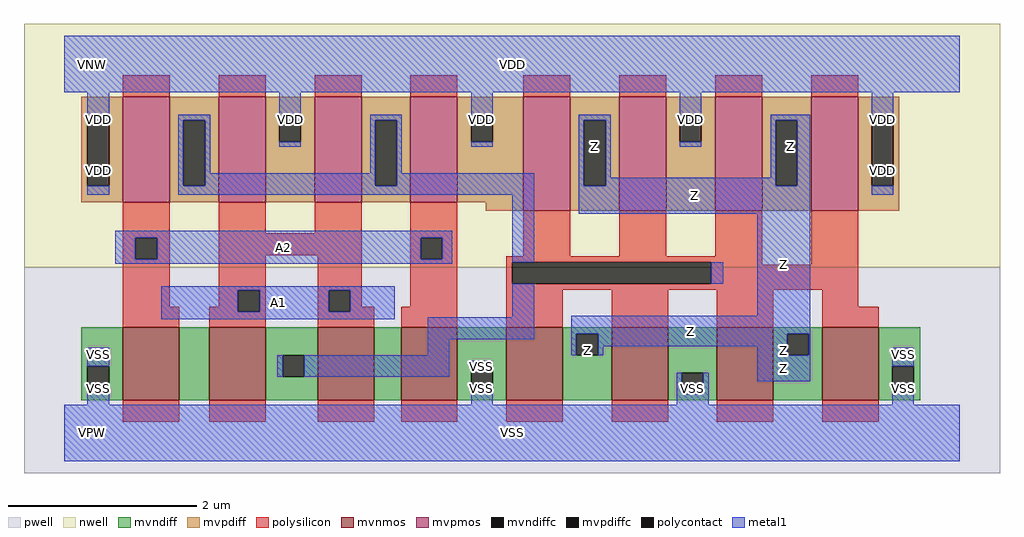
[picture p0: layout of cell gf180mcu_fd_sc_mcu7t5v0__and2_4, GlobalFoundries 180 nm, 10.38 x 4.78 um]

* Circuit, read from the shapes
.subckt gf180mcu_fd_sc_mcu7t5v0__and2_4 A1 A2 Z VDD VNW VPW VSS
XM1 n1 A2 VSS VPW nfet_06v0 w=0.775u l=0.6u
XM2 n2 A1 n1 VPW nfet_06v0 w=0.775u l=0.6u
XM3 n3 A1 n2 VPW nfet_06v0 w=0.775u l=0.6u
XM4 VSS A2 n3 VPW nfet_06v0 w=0.775u l=0.6u
XM5 Z n2 VSS VPW nfet_06v0 w=0.775u l=0.6u m=4
XM6 n2 A2 VDD VNW pfet_06v0 w=1.125u l=0.5u m=2
XM7 VDD A1 n2 VNW pfet_06v0 w=1.125u l=0.5u m=2
XM8 Z n2 VDD VNW pfet_06v0 w=1.215u l=0.5u m=4
.ends

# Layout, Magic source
magic
tech gf180mcuD
magscale 1 10
<< nwell >>
rect -86 352 1990 870
<< pwell >>
rect -86 -86 1990 352
<< mvnmos >>
rect 124 69 244 224
rect 308 69 428 224
rect 539 69 659 224
rect 716 69 836 224
rect 940 69 1060 224
rect 1164 69 1284 224
rect 1388 69 1508 224
rect 1612 69 1732 224
<< mvpmos >>
rect 124 490 224 715
rect 328 490 428 715
rect 532 490 632 715
rect 736 490 836 715
rect 976 472 1076 715
rect 1180 472 1280 715
rect 1384 472 1484 715
rect 1588 472 1688 715
<< mvndiff >>
rect 36 142 124 224
rect 36 96 49 142
rect 95 96 124 142
rect 36 69 124 96
rect 244 69 308 224
rect 428 165 539 224
rect 428 119 464 165
rect 510 119 539 165
rect 428 69 539 119
rect 659 69 716 224
rect 836 142 940 224
rect 836 96 865 142
rect 911 96 940 142
rect 836 69 940 96
rect 1060 211 1164 224
rect 1060 165 1089 211
rect 1135 165 1164 211
rect 1060 69 1164 165
rect 1284 128 1388 224
rect 1284 82 1313 128
rect 1359 82 1388 128
rect 1284 69 1388 82
rect 1508 211 1612 224
rect 1508 165 1537 211
rect 1583 165 1612 211
rect 1508 69 1612 165
rect 1732 142 1820 224
rect 1732 96 1761 142
rect 1807 96 1820 142
rect 1732 69 1820 96
<< mvpdiff >>
rect 36 665 124 715
rect 36 525 49 665
rect 95 525 124 665
rect 36 490 124 525
rect 224 665 328 715
rect 224 525 253 665
rect 299 525 328 665
rect 224 490 328 525
rect 428 665 532 715
rect 428 619 457 665
rect 503 619 532 665
rect 428 490 532 619
rect 632 665 736 715
rect 632 525 661 665
rect 707 525 736 665
rect 632 490 736 525
rect 836 665 976 715
rect 836 619 865 665
rect 911 619 976 665
rect 836 490 976 619
rect 896 472 976 490
rect 1076 665 1180 715
rect 1076 525 1105 665
rect 1151 525 1180 665
rect 1076 472 1180 525
rect 1280 665 1384 715
rect 1280 619 1309 665
rect 1355 619 1384 665
rect 1280 472 1384 619
rect 1484 665 1588 715
rect 1484 525 1513 665
rect 1559 525 1588 665
rect 1484 472 1588 525
rect 1688 665 1776 715
rect 1688 525 1717 665
rect 1763 525 1776 665
rect 1688 472 1776 525
<< mvndiffc >>
rect 49 96 95 142
rect 464 119 510 165
rect 865 96 911 142
rect 1089 165 1135 211
rect 1313 82 1359 128
rect 1537 165 1583 211
rect 1761 96 1807 142
<< mvpdiffc >>
rect 49 525 95 665
rect 253 525 299 665
rect 457 619 503 665
rect 661 525 707 665
rect 865 619 911 665
rect 1105 525 1151 665
rect 1309 619 1355 665
rect 1513 525 1559 665
rect 1717 525 1763 665
<< polysilicon >>
rect 124 715 224 760
rect 328 715 428 760
rect 532 715 632 760
rect 736 715 836 760
rect 976 715 1076 760
rect 1180 715 1280 760
rect 1384 715 1484 760
rect 1588 715 1688 760
rect 124 415 224 490
rect 124 369 151 415
rect 197 369 224 415
rect 124 268 224 369
rect 328 424 428 490
rect 532 424 632 490
rect 328 378 632 424
rect 328 303 428 378
rect 328 268 369 303
rect 124 224 244 268
rect 308 257 369 268
rect 415 257 428 303
rect 308 224 428 257
rect 539 303 632 378
rect 539 257 562 303
rect 608 268 632 303
rect 736 415 836 490
rect 736 369 758 415
rect 804 369 836 415
rect 976 376 1076 472
rect 1180 376 1280 472
rect 1384 376 1484 472
rect 736 268 836 369
rect 608 257 659 268
rect 539 224 659 257
rect 716 224 836 268
rect 940 363 1484 376
rect 940 317 953 363
rect 1376 357 1484 363
rect 1588 357 1688 472
rect 1376 317 1688 357
rect 940 304 1688 317
rect 940 224 1060 304
rect 1164 224 1284 304
rect 1388 224 1508 304
rect 1612 268 1688 304
rect 1612 224 1732 268
rect 124 24 244 69
rect 308 24 428 69
rect 539 24 659 69
rect 716 24 836 69
rect 940 24 1060 69
rect 1164 24 1284 69
rect 1388 24 1508 69
rect 1612 24 1732 69
<< polycontact >>
rect 151 369 197 415
rect 369 257 415 303
rect 562 257 608 303
rect 758 369 804 415
rect 953 317 1376 363
<< metal1 >>
rect 0 724 1904 844
rect 49 665 95 724
rect 49 506 95 525
rect 242 665 310 676
rect 242 525 253 665
rect 299 552 310 665
rect 457 665 503 724
rect 457 608 503 619
rect 650 665 718 676
rect 650 552 661 665
rect 299 525 661 552
rect 707 552 718 665
rect 865 665 911 724
rect 865 608 911 619
rect 1094 665 1162 676
rect 707 525 999 552
rect 242 506 999 525
rect 108 415 825 430
rect 108 369 151 415
rect 197 369 758 415
rect 804 369 825 415
rect 108 360 825 369
rect 953 363 999 506
rect 1094 525 1105 665
rect 1151 542 1162 665
rect 1309 665 1355 724
rect 1309 608 1355 619
rect 1502 665 1586 676
rect 1502 542 1513 665
rect 1151 525 1513 542
rect 1559 525 1586 665
rect 1094 466 1586 525
rect 1717 665 1763 724
rect 1717 506 1763 525
rect 1376 317 1401 363
rect 206 303 703 312
rect 206 257 369 303
rect 415 257 562 303
rect 608 257 703 303
rect 206 242 703 257
rect 953 246 999 317
rect 1474 249 1586 466
rect 773 199 999 246
rect 1078 211 1586 249
rect 49 142 95 181
rect 773 165 819 199
rect 1078 165 1089 211
rect 1135 184 1537 211
rect 1135 165 1146 184
rect 1474 165 1537 184
rect 1583 165 1586 211
rect 453 119 464 165
rect 510 119 819 165
rect 865 142 911 153
rect 49 60 95 96
rect 865 60 911 96
rect 1302 82 1313 128
rect 1359 82 1370 128
rect 1474 110 1586 165
rect 1761 142 1807 181
rect 1302 60 1370 82
rect 1761 60 1807 96
rect 0 -60 1904 60
<< labels >>
flabel metal1 s 108 360 825 430 0 FreeSans 600 0 0 0 A2
port 2 nsew default input
flabel metal1 s 0 724 1904 844 0 FreeSans 600 0 0 0 VDD
port 4 nsew power bidirectional abutment
flabel metal1 s 1761 153 1807 181 0 FreeSans 600 0 0 0 VSS
port 7 nsew ground bidirectional abutment
flabel metal1 s 1502 542 1586 676 0 FreeSans 600 0 0 0 Z
port 3 nsew default output
flabel metal1 s 206 242 703 312 0 FreeSans 600 0 0 0 A1
port 1 nsew default input
flabel nwell s 10 734 110 834 0 FreeSans 400 0 0 0 VNW
port 5 nsew power bidirectional
flabel pwell s 10 -50 110 50 0 FreeSans 400 0 0 0 VPW
port 6 nsew ground bidirectional
rlabel metal1 s 1094 542 1162 676 1 Z
port 3 nsew default output
rlabel metal1 s 1094 466 1586 542 1 Z
port 3 nsew default output
rlabel metal1 s 1474 249 1586 466 1 Z
port 3 nsew default output
rlabel metal1 s 1078 184 1586 249 1 Z
port 3 nsew default output
rlabel metal1 s 1474 165 1586 184 1 Z
port 3 nsew default output
rlabel metal1 s 1078 165 1146 184 1 Z
port 3 nsew default output
rlabel metal1 s 1474 110 1586 165 1 Z
port 3 nsew default output
rlabel metal1 s 1717 608 1763 724 1 VDD
port 4 nsew power bidirectional abutment
rlabel metal1 s 1309 608 1355 724 1 VDD
port 4 nsew power bidirectional abutment
rlabel metal1 s 865 608 911 724 1 VDD
port 4 nsew power bidirectional abutment
rlabel metal1 s 457 608 503 724 1 VDD
port 4 nsew power bidirectional abutment
rlabel metal1 s 49 608 95 724 1 VDD
port 4 nsew power bidirectional abutment
rlabel metal1 s 1717 506 1763 608 1 VDD
port 4 nsew power bidirectional abutment
rlabel metal1 s 49 506 95 608 1 VDD
port 4 nsew power bidirectional abutment
rlabel metal1 s 49 153 95 181 1 VSS
port 7 nsew ground bidirectional abutment
rlabel metal1 s 1761 128 1807 153 1 VSS
port 7 nsew ground bidirectional abutment
rlabel metal1 s 865 128 911 153 1 VSS
port 7 nsew ground bidirectional abutment
rlabel metal1 s 49 128 95 153 1 VSS
port 7 nsew ground bidirectional abutment
rlabel metal1 s 1761 60 1807 128 1 VSS
port 7 nsew ground bidirectional abutment
rlabel metal1 s 1302 60 1370 128 1 VSS
port 7 nsew ground bidirectional abutment
rlabel metal1 s 865 60 911 128 1 VSS
port 7 nsew ground bidirectional abutment
rlabel metal1 s 49 60 95 128 1 VSS
port 7 nsew ground bidirectional abutment
rlabel metal1 s 0 -60 1904 60 1 VSS
port 7 nsew ground bidirectional abutment
<< properties >>
string FIXED_BBOX 0 0 1904 784
string GDS_END 1220258
string GDS_FILE $PDKPATH/libs.ref/gf180mcu_fd_sc_mcu7t5v0/gds/gf180mcu_fd_sc_mcu7t5v0.gds
string GDS_START 1215392
string LEFclass core
string LEFsite GF018hv5v_mcu_sc7
string LEFsymmetry X Y
<< end >>
